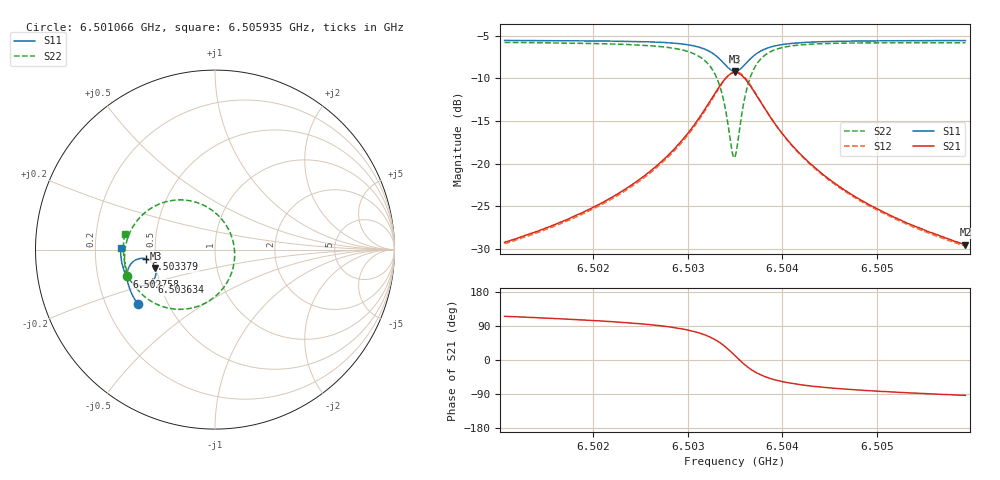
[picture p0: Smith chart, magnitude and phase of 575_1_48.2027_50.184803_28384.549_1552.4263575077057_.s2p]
#  HZ  S  RI  R  50.00
! Rohde & Schwarz Vector Network Analyzer
! Rohde-Schwarz,ZNB20-2Port,1311601062101988,3.16
! Created: UTC 3/20/2024, 12:01:51 PM
! freq[Hz]  re:S11  im:S11  re:S21  im:S21  re:S12  im:S12  re:S22  im:S22
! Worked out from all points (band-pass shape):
!   401 points, 6.501066 GHz to 6.505935 GHz, reference 50 ohm
!   highest |S21| = -9.31 dB at 6.503501 GHz (marker M1); lowest = -29.5 dB at 6.505935 GHz (marker M2)
!   |S21| within 3 dB of the highest: 6.503258 GHz to 6.503744 GHz (486.6 kHz wide, 0.00748 % of centre)
!   lowest |S11| = -9.2 dB at 6.503501 GHz (marker M3), VSWR 2.06, Z = 24.7 - j5.75 ohm
!   |S11| at or under -10 dB: nowhere
!   |S22| runs from -19.3 to -5.8 dB; largest |S21 - S12| = 0.012
!   S11 on the Smith chart (normalised r, x): 6.501066 GHz: 0.34, -0.28; 6.502758 GHz: 0.33, -0.13; 6.503379 GHz: 0.44, -0.05; 6.503634 GHz: 0.45, -0.19; 6.505935 GHz: 0.31, +0.01
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6.5010661e9  -0.4315 -0.3026  -0.0148 0.0312  -0.0131 0.0314  -0.4923 -0.1452
6.5018817e9  -0.4658 -0.2413  -0.014 0.0494  -0.0116 0.049  -0.5039 -0.0569
6.5023199e9  -0.481 -0.2018  -0.0111 0.0688  -0.00802 0.0677  -0.4999 0.00687
6.5026972e9  -0.4893 -0.1591  -0.00137 0.0997  0.00226 0.0974  -0.4786 0.0847
6.502758e9  -0.4898 -0.1508  0.00195 0.1072  0.00555 0.1044  -0.4716 0.1009
6.5029771e9  -0.486 -0.1157  0.0242 0.1427  0.0278 0.1385  -0.4251 0.1717
6.5031354e9  -0.4712 -0.0834  0.0639 0.1791  0.0666 0.1731  -0.3479 0.2355
6.5032815e9  -0.433 -0.0538  0.1461 0.208  0.1469 0.202  -0.1982 0.2769
6.5033301e9  -0.4115 -0.0488  0.1891 0.2067  0.189 0.2013  -0.123 0.2683
6.5033788e9  -0.386 -0.0508  0.2383 0.1913  0.2384 0.1869  -0.0387 0.2339
6.503464e9  -0.3427 -0.0802  0.3175 0.1163  0.3201 0.1124  0.0878 0.0862
6.5035006e9  -0.3316 -0.1025  0.3356 0.0672  0.3393 0.0622  0.1091 -0.00618
6.5035249e9  -0.3284 -0.119  0.3391 0.0322  0.3433 0.0258  0.1068 -0.0702
6.5035614e9  -0.3306 -0.1433  0.3317 -0.0186  0.3356 -0.0272  0.0796 -0.1602
6.5036344e9  -0.3531 -0.1809  0.2847 -0.0959  0.285 -0.1072  -0.0314 -0.285
6.5037318e9  -0.3943 -0.201  0.2056 -0.1398  0.2009 -0.15  -0.1925 -0.3327
6.5038901e9  -0.4441 -0.1936  0.1166 -0.1392  0.1096 -0.1448  -0.3543 -0.2887
6.5040605e9  -0.4735 -0.1724  0.068 -0.1182  0.0619 -0.1206  -0.433 -0.221
6.5043161e9  -0.4961 -0.141  0.0348 -0.0912  0.0301 -0.0918  -0.4812 -0.1427
6.5046813e9  -0.5118 -0.102  0.0154 -0.067  0.0121 -0.0666  -0.5041 -0.0669
6.5051316e9  -0.5212 -0.0597  0.0054 -0.0498  0.00296 -0.0492  -0.5107 -0.00116
6.505935e9  -0.5264 0.0088  -0.00194 -0.0334  -0.0034 -0.0326  -0.5034 0.0858
